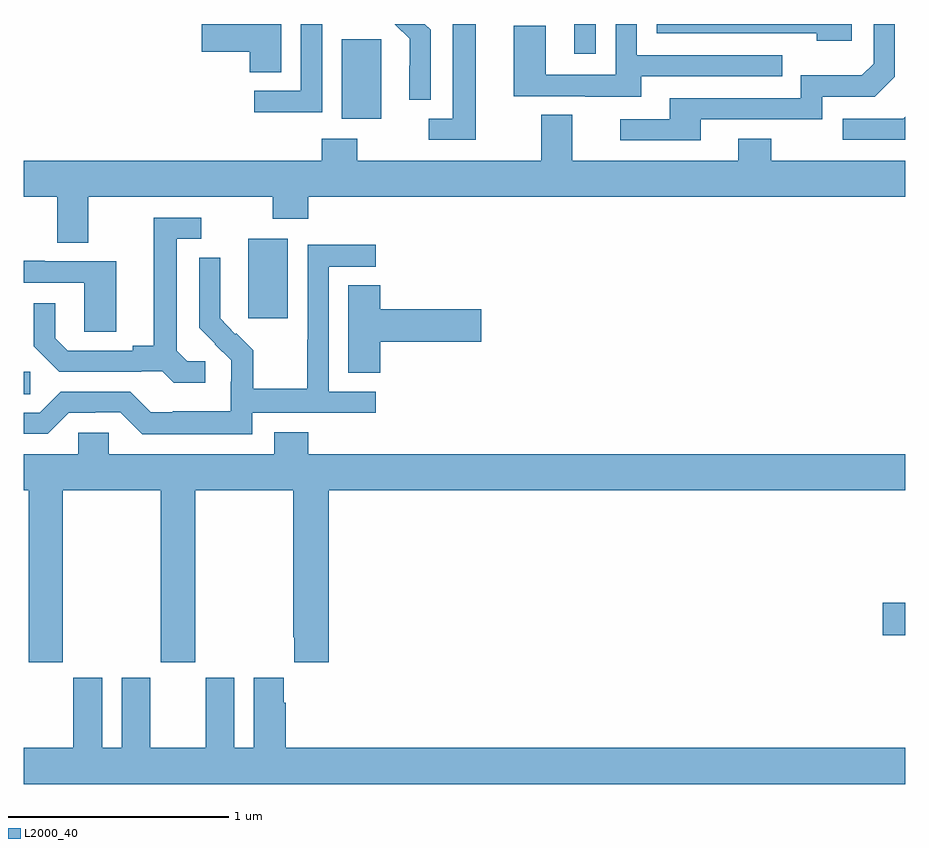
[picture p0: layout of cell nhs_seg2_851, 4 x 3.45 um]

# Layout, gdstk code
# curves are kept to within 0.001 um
import gdstk
lib = gdstk.Library(unit=1e-6, precision=1e-09)
def R(c, l, rs):  # rectangles x0, y0, x1, y1
    for r in rs: c.add(gdstk.rectangle(r[:2], r[2:], *l))
def P(c, l, *ps):  # polygons
    for p in ps: c.add(gdstk.Polygon(p, *l))
L2000_40 = (2000, 40)

nhs_seg2_851 = lib.new_cell('nhs_seg2_851')
R(nhs_seg2_851, L2000_40, [(158.898,599.027,159,599.174), (155,600.121,155.029,600.222), (156.02,600.465,156.199,600.826), (156.443,601.37,156.622,601.731), (157.499,601.665,157.596,601.8)])
P(nhs_seg2_851, L2000_40, [(158.758,601.8),(157.872,601.8),(157.872,601.758),(158.597,601.758),(158.597,601.724),(158.758,601.724)],
  [(157.801,601.563),(158.441,601.563),(158.441,601.659),(157.782,601.659),(157.782,601.8),(157.686,601.8),(157.686,601.569),(157.368,601.569),(157.368,601.793),(157.223,601.793),(157.223,601.473),(157.547,601.473),(157.547,601.469),(157.801,601.469)],
  [(157.051,601.8),(156.947,601.8),(156.947,601.371),(156.837,601.371),(156.837,601.275),(157.051,601.275)],
  [(156.846,601.774),(156.82,601.8),(156.684,601.8),(156.752,601.733),(156.752,601.61),(156.75,601.61),(156.75,601.456),(156.846,601.456)],
  [(156.169,601.8),(155.808,601.8),(155.808,601.673),(156.026,601.673),(156.026,601.582),(156.169,601.582)],
  [(156.354,601.8),(156.258,601.8),(156.258,601.497),(156.045,601.497),(156.045,601.399),(156.354,601.399)],
  [(158.071,601.368),(158.622,601.368),(158.622,601.47),(158.862,601.47),(158.952,601.56),(158.952,601.8),(158.856,601.8),(158.856,601.62),(158.803,601.567),(158.526,601.567),(158.526,601.464),(157.931,601.464),(157.931,601.368),(157.707,601.368),(157.707,601.272),(158.071,601.272)],
  [(155.293,601.016),(156.13,601.016),(156.13,600.917),(156.29,600.917),(156.29,601.016),(159,601.016),(159,601.18),(158.391,601.18),(158.391,601.279),(158.243,601.279),(158.243,601.18),(157.489,601.18),(157.489,601.388),(157.349,601.388),(157.349,601.18),(156.513,601.18),(156.513,601.279),(156.353,601.279),(156.353,601.18),(155,601.18),(155,601.016),(155.153,601.016),(155.153,600.808),(155.293,600.808)],
  [(159,601.38),(158.991,601.371),(158.715,601.371),(158.715,601.275),(159,601.275)],
  [(155.824,600.27),(155.742,600.27),(155.695,600.317),(155.695,600.825),(155.806,600.825),(155.806,600.921),(155.591,600.921),(155.591,600.341),(155.495,600.341),(155.495,600.318),(155.2,600.318),(155.143,600.375),(155.143,600.532),(155.046,600.532),(155.046,600.338),(155.162,600.222),(155.534,600.222),(155.534,600.225),(155.628,600.225),(155.68,600.173),(155.824,600.173)],
  [(156.036,600.036),(156.598,600.036),(156.598,600.132),(156.384,600.132),(156.384,600.699),(156.598,600.699),(156.598,600.798),(156.288,600.798),(156.288,600.368),(156.286,600.368),(156.286,600.145),(156.041,600.145),(156.041,600.319),(155.964,600.396),(155.961,600.393),(155.891,600.464),(155.892,600.74),(155.796,600.74),(155.796,600.422),(155.942,600.274),(155.942,600.177),(155.94,600.177),(155.94,600.043),(155.677,600.043),(155.677,600.039),(155.577,600.039),(155.484,600.132),(155.169,600.132),(155.073,600.036),(155,600.036),(155,599.94),(155.109,599.94),(155.205,600.036),(155.324,600.036),(155.324,600.039),(155.439,600.039),(155.539,599.939),(156.036,599.939)],
  [(155.419,600.723),(155.095,600.723),(155.095,600.727),(155,600.727),(155,600.627),(155.274,600.627),(155.274,600.403),(155.419,600.403)],
  [(156.617,600.359),(157.075,600.359),(157.075,600.506),(156.617,600.506),(156.617,600.614),(156.473,600.614),(156.473,600.217),(156.617,600.217)],
  [(155.178,599.684),(155.623,599.684),(155.623,598.905),(155.778,598.905),(155.778,599.684),(156.223,599.684),(156.223,599.017),(156.227,599.017),(156.227,598.905),(156.383,598.905),(156.383,599.684),(159,599.684),(159,599.848),(156.29,599.848),(156.29,599.947),(156.137,599.947),(156.137,599.848),(155.385,599.848),(155.385,599.946),(155.247,599.946),(155.247,599.848),(155,599.848),(155,599.684),(155.023,599.684),(155.023,598.905),(155.178,598.905)],
  [(159,598.516),(156.188,598.516),(156.188,598.721),(156.181,598.721),(156.181,598.834),(156.044,598.834),(156.044,598.516),(155.956,598.516),(155.956,598.834),(155.825,598.834),(155.825,598.516),(155.575,598.516),(155.575,598.834),(155.444,598.834),(155.444,598.516),(155.356,598.516),(155.356,598.834),(155.225,598.834),(155.225,598.516),(155,598.516),(155,598.352),(159,598.352)])

lib.write_gds('nhs_seg2_851.gds')
